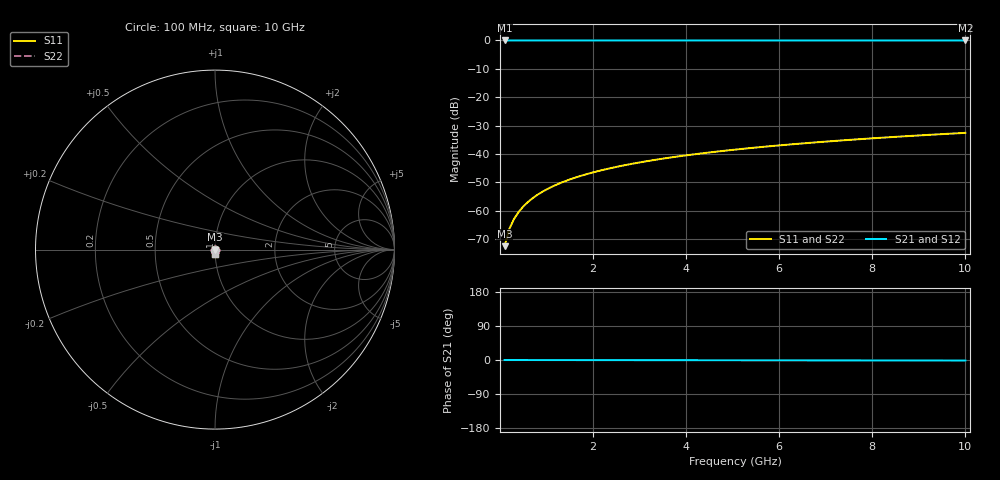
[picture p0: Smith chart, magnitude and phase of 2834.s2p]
# Hz S RI R 50.00
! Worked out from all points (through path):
!   100 points, 100 MHz to 10 GHz, reference 50 ohm
!   highest |S21| = 0.00 dB at 100 MHz (marker M1); lowest = 0.0 dB at 10 GHz (marker M2)
!   lowest |S11| = -72.6 dB at 100 MHz (marker M3), VSWR 1.00, Z = 50 - j0.0235 ohm
!   |S11| at or under -10 dB: start of sweep to end of sweep
!   |S22| runs from -72.6 to -32.6 dB; largest |S21 - S12| = 0
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1e8  -1.73e-07 -0.000235  1 -0.000241  1 -0.000241  -1.73e-07 -0.000235
2e8  -5.74e-07 -0.000471  1 -0.000483  1 -0.000483  -5.74e-07 -0.000471
3e8  -1.09e-06 -0.000706  1 -0.000724  1 -0.000724  -1.09e-06 -0.000706
4e8  -1.72e-06 -0.000941  1 -0.000966  1 -0.000966  -1.72e-06 -0.000941
5e8  -2.46e-06 -0.00118  1 -0.00121  1 -0.00121  -2.46e-06 -0.00118
6e8  -3.32e-06 -0.00141  1 -0.00145  1 -0.00145  -3.32e-06 -0.00141
7e8  -4.29e-06 -0.00165  1 -0.00169  1 -0.00169  -4.29e-06 -0.00165
8e8  -5.38e-06 -0.00188  1 -0.00193  1 -0.00193  -5.38e-06 -0.00188
9e8  -6.58e-06 -0.00212  1 -0.00217  1 -0.00217  -6.58e-06 -0.00212
1.1e9  -9.32e-06 -0.00259  1 -0.00266  1 -0.00266  -9.32e-06 -0.00259
1.4e9  -1.43e-05 -0.00329  1 -0.00338  1 -0.00338  -1.43e-05 -0.00329
1.8e9  -2.25e-05 -0.00423  1 -0.00434  1 -0.00434  -2.25e-05 -0.00423
2.1e9  -2.98e-05 -0.00494  1 -0.00507  1 -0.00507  -2.98e-05 -0.00494
2.5e9  -4.12e-05 -0.00588  1 -0.00603  1 -0.00603  -4.12e-05 -0.00588
2.9e9  -5.44e-05 -0.00682  0.9999 -0.007  0.9999 -0.007  -5.44e-05 -0.00682
3.4e9  -7.34e-05 -0.008  0.9999 -0.0082  0.9999 -0.0082  -7.34e-05 -0.008
4.2e9  -0.00011 -0.00987  0.9999 -0.0101  0.9999 -0.0101  -0.00011 -0.00987
5.1e9  -0.000159 -0.012  0.9998 -0.0123  0.9998 -0.0123  -0.000159 -0.012
5.9e9  -0.000211 -0.0139  0.9998 -0.0142  0.9998 -0.0142  -0.000211 -0.0139
6.7e9  -0.00027 -0.0157  0.9997 -0.0162  0.9997 -0.0162  -0.00027 -0.0157
8.4e9  -0.000419 -0.0197  0.9996 -0.0202  0.9996 -0.0202  -0.000419 -0.0197
1e10  -0.000588 -0.0234  0.9994 -0.0241  0.9994 -0.0241  -0.000588 -0.0234
